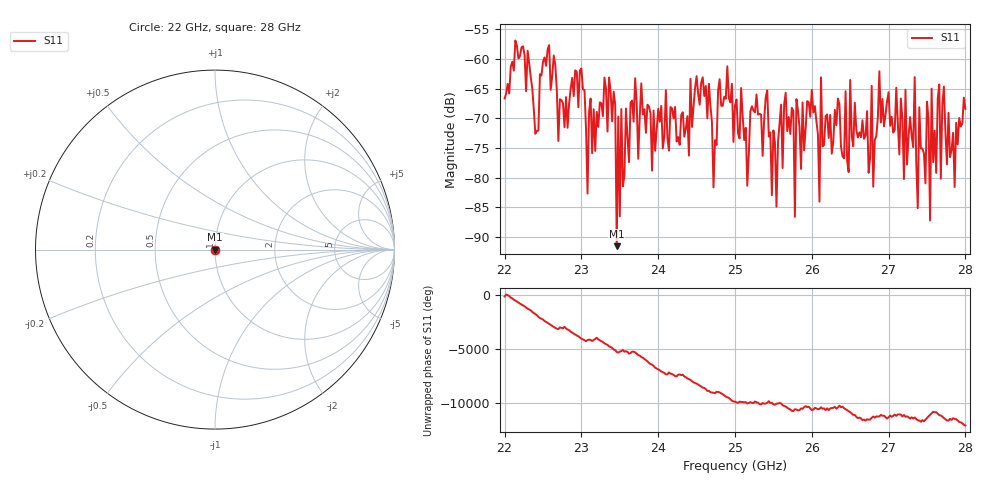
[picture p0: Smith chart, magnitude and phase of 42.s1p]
#  HZ  S  RI  R  50.00
! Rohde & Schwarz ZVA40 4Ports - Version 3.90 - 1145.1110k42 SN: 100403
! Date: 2023-10-04 09:23:13
! Measurement: S12
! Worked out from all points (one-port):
!   301 points, 22 GHz to 28 GHz, reference 50 ohm
!   lowest |S11| = -91.5 dB at 23.46 GHz (marker M1), VSWR 1.00, Z = 50 + j0.00264 ohm
!   |S11| at or under -10 dB: start of sweep to end of sweep
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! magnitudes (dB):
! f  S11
! 22 GHz  -66.7
! 22.76 GHz  -67.4
! 23 GHz  -61.6
! 23.08 GHz  -82.7
! 23.36 GHz  -63.1
! 23.46 GHz  -91.5
! 23.5 GHz  -86.5
! 23.7 GHz  -63.2
! 23.74 GHz  -76.8
! 23.78 GHz  -64.1
! 23.92 GHz  -78.8
! 24.26 GHz  -73.2
! 25 GHz  -67.9
! 25.16 GHz  -81.4
! 25.28 GHz  -66.0
! 25.76 GHz  -68.8
! 26.1 GHz  -84.0
! 26.12 GHz  -63.1
! 26.26 GHz  -76.0
! 26.44 GHz  -65.4
! 26.48 GHz  -79.1
! 26.5 GHz  -63.5
! 26.74 GHz  -79.2
! 26.78 GHz  -64.5
! 26.8 GHz  -81.5
! 26.88 GHz  -62.1
! 27.26 GHz  -73.0
! 28 GHz  -68.4
